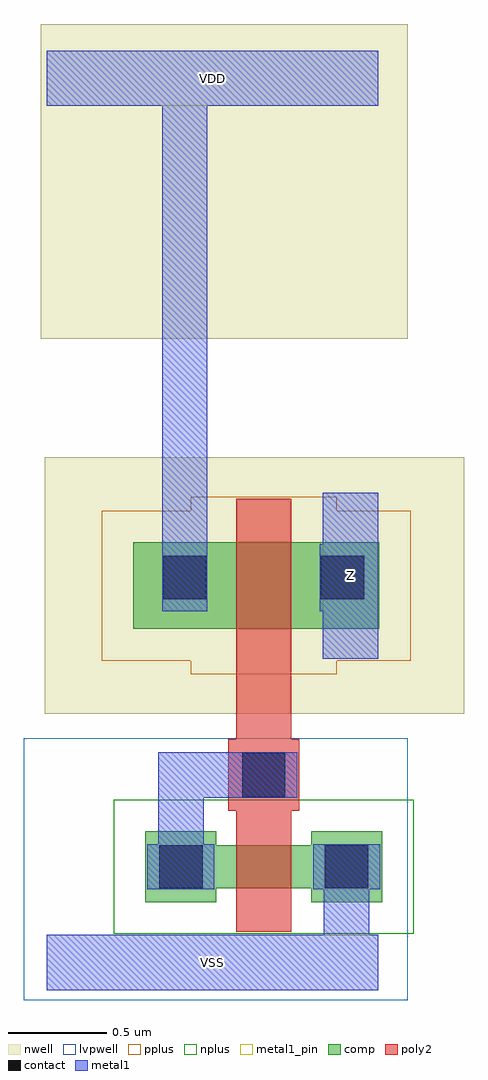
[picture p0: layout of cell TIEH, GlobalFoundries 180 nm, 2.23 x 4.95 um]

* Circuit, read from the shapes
.subckt TIEH VDD VSS Z
XM1 VSS n1 n1 VSUBS nfet_03v3 w=0.22u l=0.28u
XM2 Z n1 VDD n2 pfet_03v3 w=0.44u l=0.28u
.ends

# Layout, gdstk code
import gdstk
lib = gdstk.Library(unit=1e-6, precision=1e-09)
def R(c, l, rs):  # rectangles x0, y0, x1, y1
    for r in rs: c.add(gdstk.rectangle(r[:2], r[2:], *l))
nwell = (21, 0)
comp = (22, 0)
poly2 = (30, 0)
pplus = (31, 0)
nplus = (32, 0)
contact = (33, 0)
metal1 = (34, 0)
metal1_pin = (34, 10)
lvpwell = (204, 0)

tieh = lib.new_cell('TIEH')
R(tieh, nwell, [(-0.01,1.26,2.115,2.56), (-0.03,3.16,1.83,4.755)])
R(tieh, comp, [(0.5,0.305,0.86,0.375), (1.34,0.305,1.7,0.375), (0.5,0.375,1.7,0.595), (0.5,0.595,0.86,0.665), (1.34,0.595,1.7,0.665), (0.44,1.69,1.685,2.13)])
R(tieh, poly2, [(0.96,0.155,1.24,0.77), (0.92,0.77,1.28,1.13), (0.96,1.13,1.24,2.35)])
R(tieh, pplus, [(0.73,1.46,1.47,1.53), (0.28,1.53,1.845,2.29), (0.73,2.29,1.47,2.36)])
R(tieh, nplus, [(0.34,0.145,1.86,0.825)])
R(tieh, contact, [(0.57,0.375,0.79,0.595), (1.41,0.375,1.63,0.595), (0.99,0.84,1.21,1.06), (0.59,1.84,0.81,2.06), (1.39,1.84,1.61,2.06)])
R(tieh, metal1, [(0,-0.14,1.68,0.14), (1.405,0.14,1.635,0.37), (0.51,0.37,0.85,0.6), (1.35,0.37,1.69,0.6), (0.565,0.6,0.795,0.835), (0.565,0.835,1.27,1.065), (1.4,1.54,1.68,1.78), (0.585,1.78,0.815,4.34), (1.385,1.78,1.68,2.12), (1.4,2.12,1.68,2.38), (0,4.34,1.68,4.62)])
R(tieh, metal1_pin, [(0,-0.14,1.68,0.14), (1.4,1.54,1.68,2.38), (0,4.34,1.68,4.62)])
R(tieh, lvpwell, [(-0.115,-0.19,1.83,1.135)])
tieh.add(gdstk.Label('VSS', (0.84,0), layer=34, texttype=10))
tieh.add(gdstk.Label('VDD', (0.84,4.48), layer=34, texttype=10))
tieh.add(gdstk.Label('Z', (1.54,1.96), layer=34, texttype=10))

lib.write_gds('TIEH.gds')
